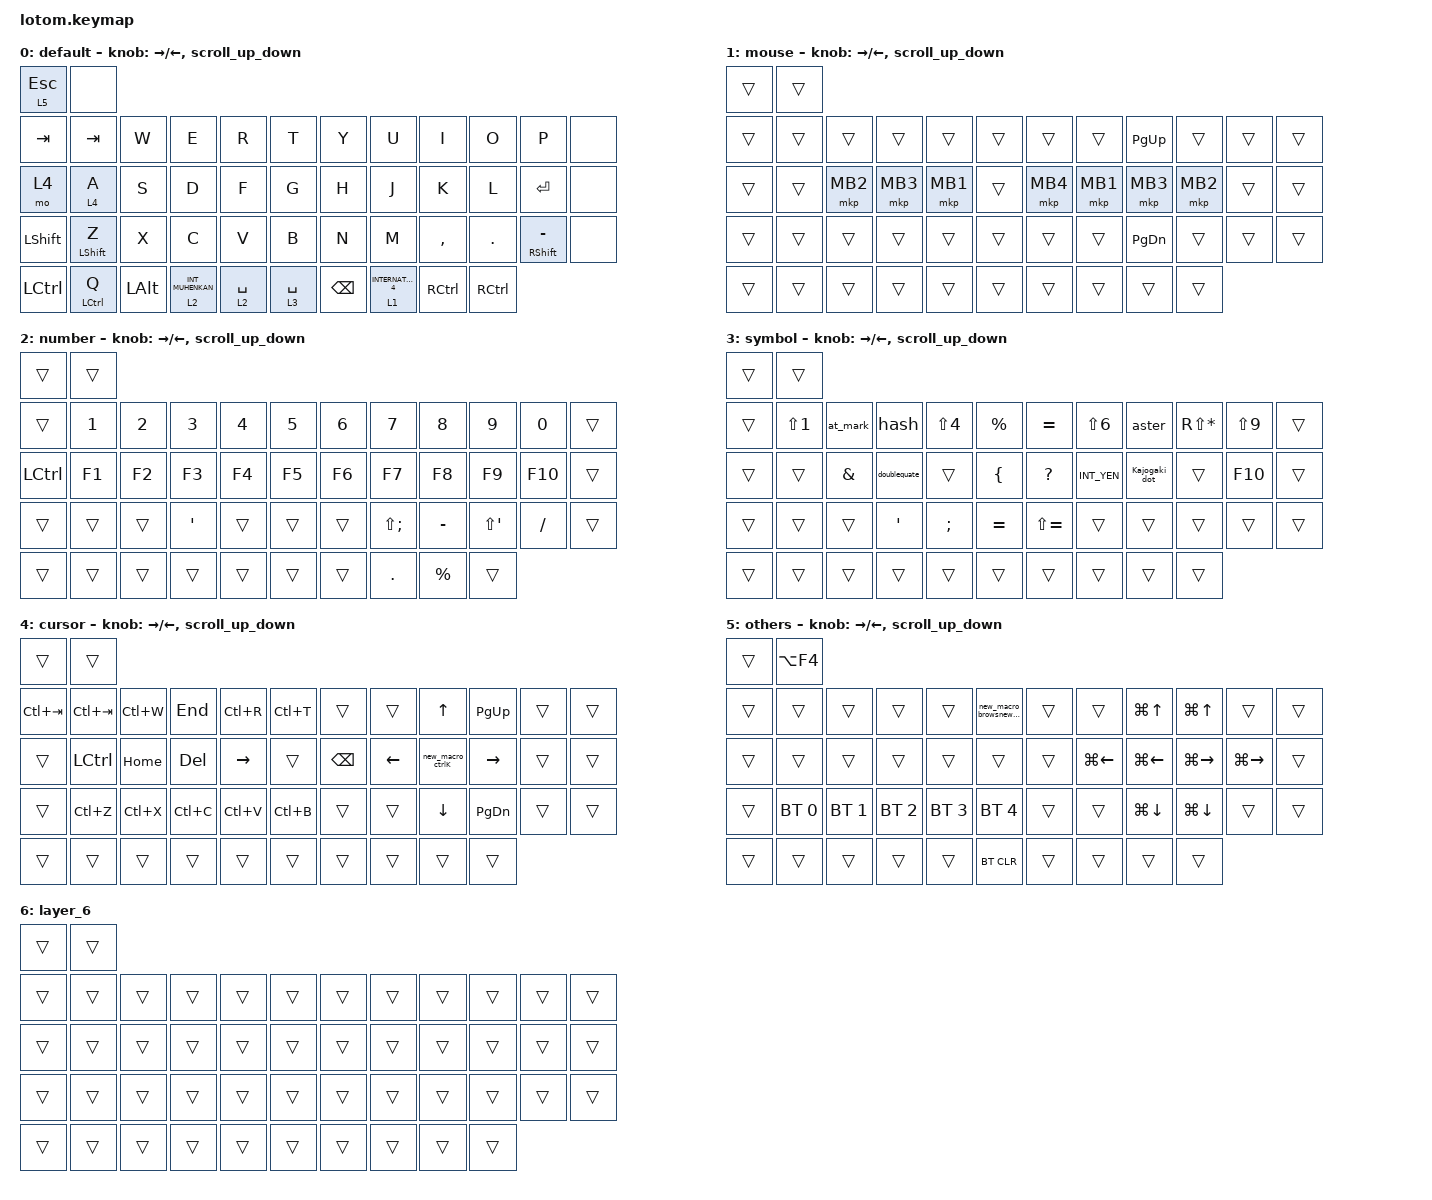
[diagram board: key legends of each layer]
#include <behaviors.dtsi>
#include <dt-bindings/zmk/bt.h>
#include <dt-bindings/zmk/keys.h>
#include <dt-bindings/zmk/pointing.h>

#define ZMK_POINTING_DEFAULT_SCRL_VAL 80

// OS設定を日本語キーボードのまま使用するための変換定義

#define JP_DQUOTE       AT                // "
#define JP_AMPERSAND    CARET             // &
#define JP_QUOTE        AMPERSAND         // '
#define JP_EQUAL        UNDER             // =
#define JP_CARET        EQUAL             // ^
#define JP_YEN          0x89              // ¥
#define JP_PLUS         COLON             // +
#define JP_TILDE        PLUS              // ~
#define JP_PIPE         LS(0x89)          // |
#define JP_AT           LEFT_BRACKET      // @
#define JP_COLON        SINGLE_QUOTE      // :
#define JP_ASTERISK     DOUBLE_QUOTES     // *
#define JP_BACKQUOTE    LEFT_BRACE        // `
#define JP_UNDERSCORE   LS(0x87)          // _
#define JP_LBRACKET     RIGHT_BRACKET     // [
#define JP_RBRACKET     BACKSLASH         // ]
#define JP_LPAREN       ASTERISK          // (
#define JP_RPAREN       LEFT_PARENTHESIS  // )
#define JP_LBRACE       RIGHT_BRACE       // {
#define JP_RBRACE       PIPE              // }
#define JP_KANA         LANGUAGE_1        // かな
#define JP_EISU         LANGUAGE_2        // 英数
#define JP_HANZEN       GRAVE             // 半角/全角

/ {
    behaviors {
        scroll_up_down: behavior_sensor_rotate_mouse_wheel_up_down {
            compatible = "zmk,behavior-sensor-rotate";
            label = "ENCODER_MSC_DOWN_UP";
            #sensor-binding-cells = <0>;
            bindings = <&msc SCRL_DOWN>, <&msc SCRL_UP>;

            tap-ms = <20>;
        };

        tab_slide: behavior_sensor_rotate_tab_slide {
            compatible = "zmk,behavior-sensor-rotate";
            label = "ENCODER_TAB_SLIDE";
            #sensor-binding-cells = <0>;
            bindings = <&kp LA(LG(RIGHT_ARROW))>, <&kp LA(LG(LEFT_ARROW))>;

            tap-ms = <20>;
        };

        my_mt: my_mt {
            compatible = "zmk,behavior-hold-tap";
            label = "MY_MT";
            bindings = <&kp>, <&kp>;

            #binding-cells = <2>;
            tapping-term-ms = <300>;
            flavor = "tap-preferred";
        };

        my_lt: my_lt {
            compatible = "zmk,behavior-hold-tap";
            label = "MY_LT";
            bindings = <&mo>, <&kp>;

            #binding-cells = <2>;
            tapping-term-ms = <250>;
            flavor = "tap-preferred";
        };
    };

    macros {
        new_macro_kagikakko: new_macro_kagikakko {
            compatible = "zmk,behavior-macro";
            #binding-cells = <0>;
            bindings = <&kp INTERNATIONAL_4 &kp RIGHT_BRACKET &kp BACKSLASH &kp ENTER &kp LEFT>;
            label = "NEW_MACRO_KAGIKAKKO";
        };

        new_macro_browsnewtab: new_macro_browsnewtab {
            compatible = "zmk,behavior-macro";
            #binding-cells = <0>;
            bindings = <&kp LC(C) &kp LC(T) &kp LC(V) &kp RETURN>;
            label = "NEW_MACRO_BROWSNEWTAB";
        };

        new_macro_ctrlK: new_macro_ctrlK {
            compatible = "zmk,behavior-macro";
            #binding-cells = <0>;
            bindings = <&kp LS(END) &kp LC(X)>;
            label = "NEW_MACRO_CTRLK";
        };

        new_macro_kakko: new_macro_kakko {
            compatible = "zmk,behavior-macro";
            #binding-cells = <0>;
            bindings = <&kp INT_MUHENKAN &kp RS(STAR) &kp LS(N9) &kp LEFT_ARROW &kp INTERNATIONAL_4>;
            label = "NEW_MACRO_KAKKO";
        };

        macro_slash: macro_slash {
            compatible = "zmk,behavior-macro";
            #binding-cells = <0>;
            bindings = <&kp INTERNATIONAL_5 &kp SLASH>;
            label = "MACRO_SLASH";
        };

        macro_pipe: macro_pipe {
            compatible = "zmk,behavior-macro";
            #binding-cells = <0>;
            bindings = <&kp INTERNATIONAL_5 &kp JP_PIPE>;
            label = "MACRO_PIPE";
        };

        Kajogaki_dot: Kajogaki_dot {
            compatible = "zmk,behavior-macro";
            #binding-cells = <0>;
            bindings = <&kp INTERNATIONAL_4 &kp SLASH>;
            label = "KAJOGAKI_DOT";
        };

        macro_entandleft: entandleft {
            compatible = "zmk,behavior-macro";
            #binding-cells = <0>;
            bindings = <&kp ENTER &kp LEFT>;
            label = "ENTANDLEFT";
        };

        doublequate: doublequate {
            compatible = "zmk,behavior-macro";
            #binding-cells = <0>;
            bindings = <&kp INT_MUHENKAN &kp AT &kp AT_SIGN &kp LEFT_ARROW &kp INTERNATIONAL_4>;
            label = "DOUBLEQUATE";
        };

        at_mark: at_mark {
            compatible = "zmk,behavior-macro";
            #binding-cells = <0>;
            bindings = <&kp INTERNATIONAL_5 &kp LEFT_BRACKET>;
            label = "AT_MARK";
        };

        aster: aster {
            compatible = "zmk,behavior-macro";
            #binding-cells = <0>;
            bindings = <&kp INTERNATIONAL_5 &kp RS(APOS)>;
            label = "ASTER";
        };

        hash: hash {
            compatible = "zmk,behavior-macro";
            #binding-cells = <0>;
            bindings = <&kp INTERNATIONAL_5 &kp HASH>;
            label = "HASH";
        };
    };

    combos {
        compatible = "zmk,combos";

        combo-right-click {
            bindings = <&kp LS(F10)>;
            key-positions = <23 22>;
        };

        combo-alt1 {
            bindings = <&kp RIGHT_ALT>;
            key-positions = <11 10>;
        };

        combo-alt2 {
            bindings = <&kp LEFT_ALT>;
            key-positions = <4 5>;
        };

        gui1 {
            bindings = <&kp RIGHT_GUI>;
            key-positions = <35 34>;
        };

        gui2 {
            bindings = <&kp LEFT_GUI>;
            key-positions = <28 29>;
        };

        pipe {
            bindings = <&kp JP_PIPE>;
            key-positions = <8 20>;
        };

        slash {
            bindings = <&macro_slash>;
            key-positions = <20 9>;
        };

        minus {
            bindings = <&kp MINUS>;
            key-positions = <21 20>;
        };

        backslash {
            bindings = <&trans>;
            key-positions = <20 33>;
        };

        under {
            bindings = <&kp JP_UNDERSCORE>;
            key-positions = <20 32>;
        };

        space {
            bindings = <&kp SPACE>;
            key-positions = <43 42>;
        };

        marukakko {
            bindings = <&new_macro_kakko>;
            key-positions = <33 22>;
        };

        kagikakko {
            bindings = <&new_macro_kagikakko>;
            key-positions = <22 34>;
        };

        minusandansco {
            bindings = <&kp MINUS>;
            key-positions = <24 36>;
        };

        escape {
            bindings = <&kp ESCAPE>;
            key-positions = <15 18>;
        };
    };

    keymap {
        compatible = "zmk,keymap";

        default_layer {
            display-name = "default";
            bindings = <
&lt 5 ESC       &none
&kp TAB         &kp TAB                &kp W         &kp E               &kp R        &kp T        &kp Y          &kp U                  &kp I              &kp O              &kp P                     &none
&mo 4           &my_lt 4 A             &kp S         &kp D               &kp F        &kp G        &kp H          &kp J                  &kp K              &kp L              &kp RET                   &none
&kp LEFT_SHIFT  &my_mt LEFT_SHIFT Z    &kp X         &kp C               &kp V        &kp B        &kp N          &kp M                  &kp COMMA          &kp PERIOD         &my_mt RIGHT_SHIFT MINUS  &none
&kp LCTRL       &my_mt LEFT_CONTROL Q  &kp LEFT_ALT  &lt 2 INT_MUHENKAN  &lt 2 SPACE  &lt 3 SPACE  &kp BACKSPACE  &lt 1 INTERNATIONAL_4  &kp RIGHT_CONTROL  &kp RIGHT_CONTROL
            >;

            sensor-bindings = <
                &inc_dec_kp RIGHT_ARROW LEFT_ARROW
                &scroll_up_down
            >;
        };

        MOUSE {
            display-name = "mouse";
            bindings = <
&trans  &trans
&trans  &trans  &trans    &trans    &trans    &trans  &trans    &trans    &kp PAGE_UP    &trans    &trans  &trans
&trans  &trans  &mkp MB2  &mkp MB3  &mkp MB1  &trans  &mkp MB4  &mkp MB1  &mkp MB3       &mkp MB2  &trans  &trans
&trans  &trans  &trans    &trans    &trans    &trans  &trans    &trans    &kp PAGE_DOWN  &trans    &trans  &trans
&trans  &trans  &trans    &trans    &trans    &trans  &trans    &trans    &trans         &trans
            >;

            sensor-bindings = <
                &inc_dec_kp RIGHT_ARROW LEFT_ARROW
                &scroll_up_down
            >;
        };

        NUMBER {
            display-name = "number";
            bindings = <
&trans            &trans
&trans            &kp NUMBER_1  &kp NUMBER_2  &kp NUMBER_3  &kp NUMBER_4  &kp N5  &kp NUMBER_6  &kp NUMBER_7  &kp NUMBER_8  &kp NUMBER_9  &kp NUMBER_0  &trans
&kp LEFT_CONTROL  &kp F1        &kp F2        &kp F3        &kp F4        &kp F5  &kp F6        &kp F7        &kp F8        &kp F9        &kp F10       &trans
&trans            &trans        &trans        &kp APOS      &trans        &trans  &trans        &kp LS(SEMI)  &kp MINUS     &kp LS(APOS)  &kp SLASH     &trans
&trans            &trans        &trans        &trans        &trans        &trans  &trans        &kp PERIOD    &kp PERCENT   &trans
            >;

            sensor-bindings = <
                &inc_dec_kp RIGHT_ARROW LEFT_ARROW
                &scroll_up_down
            >;
        };

        SYMBOL {
            display-name = "symbol";
            bindings = <
&trans  &trans
&trans  &kp LS(NUMBER_1)  &at_mark       &hash         &kp LS(NUMBER_4)  &kp PERCENT       &kp EQUAL      &kp LS(NUMBER_6)  &aster         &kp RS(STAR)  &kp LS(N9)  &trans
&trans  &trans            &kp AMPERSAND  &doublequate  &trans            &kp JP_BACKQUOTE  &kp QUESTION   &kp INT_YEN       &Kajogaki_dot  &trans        &kp F10     &trans
&trans  &trans            &trans         &kp APOS      &kp SEMI          &kp EQUAL         &kp LS(EQUAL)  &trans            &trans         &trans        &trans      &trans
&trans  &trans            &trans         &trans        &trans            &trans            &trans         &trans            &trans         &trans
            >;

            sensor-bindings = <
                &inc_dec_kp RIGHT_ARROW LEFT_ARROW
                &scroll_up_down
            >;
        };

        CURSOR {
            display-name = "cursor";
            bindings = <
&trans       &trans
&kp LC(TAB)  &kp LC(TAB)       &kp LC(W)  &kp END    &kp LC(R)  &kp LC(T)  &trans         &trans    &kp UP_ARROW      &kp PAGE_UP    &trans  &trans
&trans       &kp LEFT_CONTROL  &kp HOME   &kp DEL    &kp RIGHT  &trans     &kp BACKSPACE  &kp LEFT  &new_macro_ctrlK  &kp RIGHT      &trans  &trans
&trans       &kp LC(Z)         &kp LC(X)  &kp LC(C)  &kp LC(V)  &kp LC(B)  &trans         &trans    &kp DOWN_ARROW    &kp PAGE_DOWN  &trans  &trans
&trans       &trans            &trans     &trans     &trans     &trans     &trans         &trans    &trans            &trans
            >;

            sensor-bindings = <
                &inc_dec_kp RIGHT_ARROW LEFT_ARROW
                &scroll_up_down
            >;
        };

        OTHERS {
            display-name = "others";
            bindings = <
&trans  &kp LA(F4)
&trans  &trans        &trans        &trans        &trans        &new_macro_browsnewtab  &trans  &trans              &kp LG(UP_ARROW)    &kp LG(UP_ARROW)    &trans         &trans
&trans  &trans        &trans        &trans        &trans        &trans                  &trans  &kp LG(LEFT_ARROW)  &kp LG(LEFT_ARROW)  &kp LG(RIGHT)       &kp LG(RIGHT)  &trans
&trans  &bt BT_SEL 0  &bt BT_SEL 1  &bt BT_SEL 2  &bt BT_SEL 3  &bt BT_SEL 4            &trans  &trans              &kp LG(DOWN)        &kp LG(DOWN_ARROW)  &trans         &trans
&trans  &trans        &trans        &trans        &trans        &bt BT_CLR              &trans  &trans              &trans              &trans
            >;

            sensor-bindings = <
                &inc_dec_kp RIGHT_ARROW LEFT_ARROW
                &scroll_up_down
            >;
        };

        layer_6 {
            bindings = <
&trans  &trans
&trans  &trans  &trans  &trans  &trans  &trans  &trans  &trans  &trans  &trans  &trans  &trans
&trans  &trans  &trans  &trans  &trans  &trans  &trans  &trans  &trans  &trans  &trans  &trans
&trans  &trans  &trans  &trans  &trans  &trans  &trans  &trans  &trans  &trans  &trans  &trans
&trans  &trans  &trans  &trans  &trans  &trans  &trans  &trans  &trans  &trans
            >;
        };
    };

    conditional_layers { compatible = "zmk,conditional-layers"; };
};
